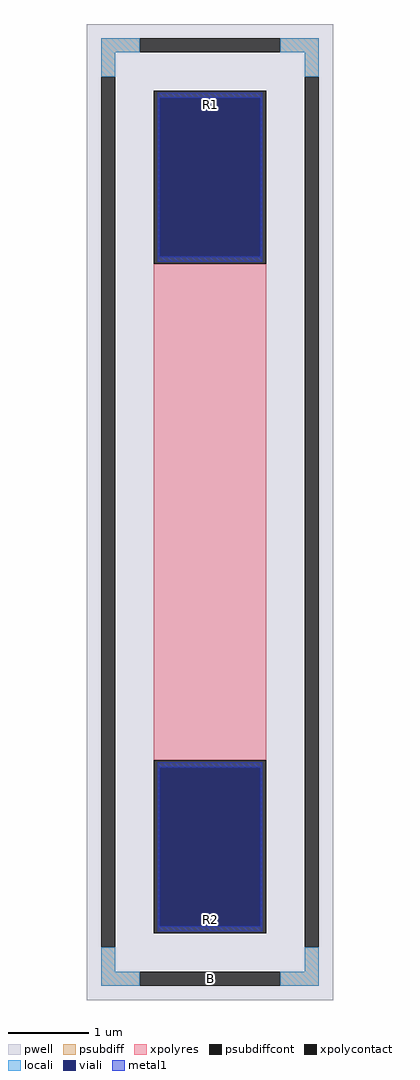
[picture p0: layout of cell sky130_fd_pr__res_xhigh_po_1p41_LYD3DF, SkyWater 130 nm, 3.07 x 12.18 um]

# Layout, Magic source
magic
tech sky130A
magscale 1 2
<< pwell >>
rect -307 -1218 307 1218
<< psubdiff >>
rect -271 1148 -175 1182
rect 175 1148 271 1182
rect -271 1086 -237 1148
rect 237 1086 271 1148
rect -271 -1148 -237 -1086
rect 237 -1148 271 -1086
rect -271 -1182 -175 -1148
rect 175 -1182 271 -1148
<< psubdiffcont >>
rect -175 1148 175 1182
rect -271 -1086 -237 1086
rect 237 -1086 271 1086
rect -175 -1182 175 -1148
<< xpolycontact >>
rect -141 620 141 1052
rect -141 -1052 141 -620
<< xpolyres >>
rect -141 -620 141 620
<< locali >>
rect -271 1148 -175 1182
rect 175 1148 271 1182
rect -271 1086 -237 1148
rect 237 1086 271 1148
rect -271 -1148 -237 -1086
rect 237 -1148 271 -1086
rect -271 -1182 -175 -1148
rect 175 -1182 271 -1148
<< viali >>
rect -125 637 125 1034
rect -125 -1034 125 -637
<< metal1 >>
rect -131 1034 131 1046
rect -131 637 -125 1034
rect 125 637 131 1034
rect -131 625 131 637
rect -131 -637 131 -625
rect -131 -1034 -125 -637
rect 125 -1034 131 -637
rect -131 -1046 131 -1034
<< labels >>
rlabel psubdiffcont 0 -1165 0 -1165 0 B
port 1 nsew
rlabel xpolycontact 0 1017 0 1017 0 R1
port 2 nsew
rlabel xpolycontact 0 -1017 0 -1017 0 R2
port 3 nsew
<< properties >>
string FIXED_BBOX -254 -1165 254 1165
string gencell sky130_fd_pr__res_xhigh_po_1p41
string library sky130
string parameters w 1.41 l 6.36 m 1 nx 1 wmin 1.410 lmin 0.50 class resistor rho 2000 val 9.288k dummy 0 dw 0.0 term 188.2 sterm 0.0 caplen 0 wmax 1.410 guard 1 glc 1 grc 1 gtc 1 gbc 1 compatible {sky130_fd_pr__res_xhigh_po_0p35  sky130_fd_pr__res_xhigh_po_0p69 sky130_fd_pr__res_xhigh_po_1p41  sky130_fd_pr__res_xhigh_po_2p85 sky130_fd_pr__res_xhigh_po_5p73} snake 0 full_metal 1 n_guard 0 hv_guard 0 vias 1 viagb 0 viagt 0 viagl 0 viagr 0 doports 1
<< end >>
